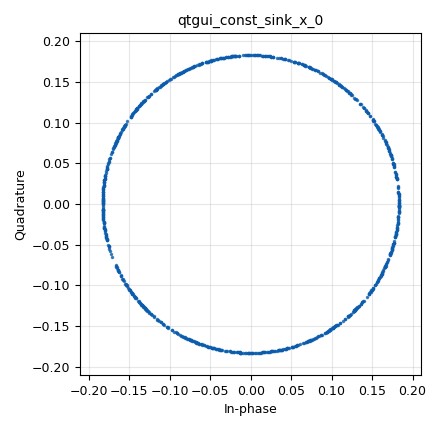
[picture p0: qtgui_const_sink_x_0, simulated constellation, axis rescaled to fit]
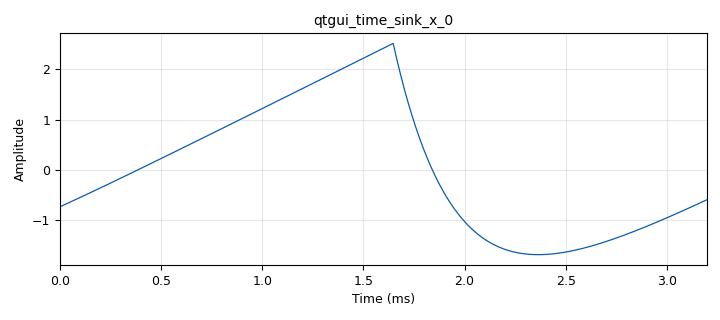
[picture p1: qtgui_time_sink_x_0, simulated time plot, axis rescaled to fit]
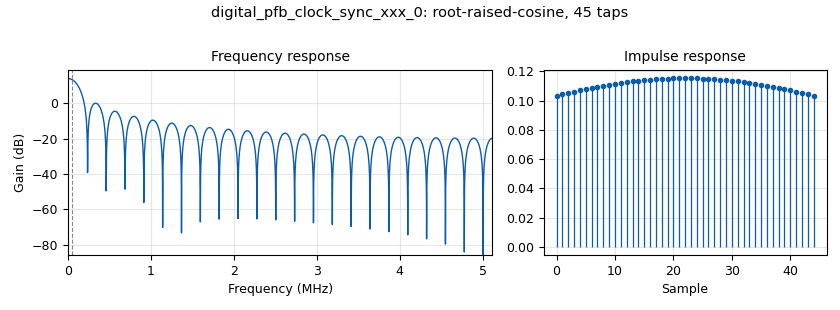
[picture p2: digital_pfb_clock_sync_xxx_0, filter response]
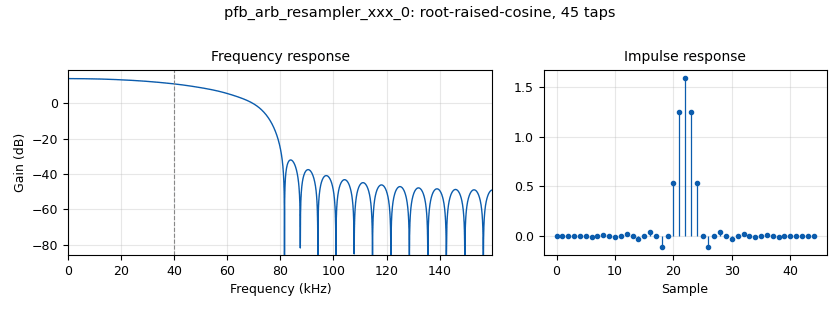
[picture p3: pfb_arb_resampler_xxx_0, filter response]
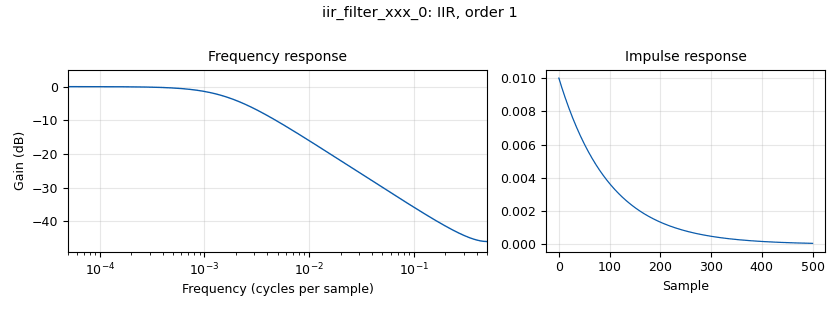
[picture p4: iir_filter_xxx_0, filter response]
options:
  parameters:
    author: aditya
    generate_options: qt_gui
    id: eight_psk_costas
    output_language: python
    title: Not titled yet
  states: {}

blocks:
- name: samp_rate
  id: variable
  parameters:
    value: '320000'
  states: {}
- name: sps
  id: variable
  parameters:
    value: '4'
  states: {}
- name: analog_phase_modulator_fc_0
  id: analog_phase_modulator_fc
  parameters:
    sensitivity: '-1'
  states: {}
- name: analog_random_source_x_0
  id: analog_random_source_x
  parameters:
    max: '8'
    min: '0'
    num_samps: '1000'
    repeat: 'True'
    type: byte
  states: {}
- name: analog_sig_source_x_0
  id: analog_sig_source_x
  parameters:
    amp: '1'
    freq: '10'
    offset: '0'
    phase: '0'
    samp_rate: samp_rate
    type: complex
    waveform: analog.GR_COS_WAVE
  states: {}
- name: blocks_complex_to_arg_0
  id: blocks_complex_to_arg
  parameters: {}
  states: {}
- name: blocks_multiply_const_vxx_0
  id: blocks_multiply_const_vxx
  parameters:
    const: '0.125'
    type: float
  states: {}
- name: blocks_multiply_xx_0
  id: blocks_multiply_xx
  parameters:
    type: complex
  states: {}
- name: blocks_multiply_xx_1
  id: blocks_multiply_xx
  parameters:
    num_inputs: '8'
    type: complex
  states: {}
- name: blocks_multiply_xx_2
  id: blocks_multiply_xx
  parameters:
    type: complex
  states: {}
- name: blocks_throttle_0
  id: blocks_throttle
  parameters:
    samples_per_second: samp_rate
    type: complex
  states: {}
- name: blocks_udp_sink_0
  id: blocks_udp_sink
  parameters:
    eof: 'True'
    ipaddr: 127.0.0.1
    port: '12345'
    psize: '1472'
    type: float
    vlen: '1'
  states: {}
- name: blocks_udp_source_0
  id: blocks_udp_source
  parameters:
    eof: 'True'
    ipaddr: 127.0.0.1
    port: '12345'
    psize: '1472'
    type: float
    vlen: '1'
  states: {}
- name: digital_chunks_to_symbols_xx_0
  id: digital_chunks_to_symbols_xx
  parameters:
    dimension: '1'
    in_type: byte
    out_type: complex
    symbol_table: '[1+0j,  0.7071+0.7071j, 0+1j, -0.7071+0.7071j, -1+0j, -0.7071-0.7071j, 0-1j,  0.7071-0.7071j]'
  states: {}
- name: digital_pfb_clock_sync_xxx_0
  id: digital_pfb_clock_sync_xxx
  parameters:
    filter_size: '32'
    init_phase: '16'
    loop_bw: 2*3.14159265/100
    max_dev: '1.5'
    osps: '1'
    sps: sps
    taps: firdes.root_raised_cosine(5,32*samp_rate,samp_rate/sps,0.99,11*sps)
    type: ccf
  states: {}
- name: iir_filter_xxx_0
  id: iir_filter_xxx
  parameters:
    fbtaps: '[-1,0.99]'
    fftaps: '0.01'
    type: ffd
  states: {}
- name: pfb_arb_resampler_xxx_0
  id: pfb_arb_resampler_xxx
  parameters:
    atten: '100'
    nfilts: '32'
    rrate: sps
    taps: firdes.root_raised_cosine(5,samp_rate,samp_rate/sps,0.99,11*sps)
    type: ccf
  states: {}
- name: plots
  id: qtgui_tab_widget
  parameters:
    label0: QPSK with Frequency Offset
    label1: QPSK Carrier Phase Detection
    label2: Costas Loop
    num_tabs: '3'
  states: {}
- name: qtgui_const_sink_x_0
  id: qtgui_const_sink_x
  parameters:
    gui_hint: plots@0
    size: '1024'
    type: complex
  states: {}
- name: qtgui_const_sink_x_2
  id: qtgui_const_sink_x
  parameters:
    gui_hint: plots@2
    size: '1024'
    type: complex
  states: {}
- name: qtgui_time_sink_x_0
  id: qtgui_time_sink_x
  parameters:
    ctrlpanel: 'True'
    gui_hint: plots@1
    size: '1024'
    srate: samp_rate
    type: float
  states: {}
- name: virtual_sink_0
  id: virtual_sink
  parameters:
    stream_id: 8psk_freq_offset
  states: {}
- name: virtual_source_0
  id: virtual_source
  parameters:
    stream_id: 8psk_freq_offset
  states: {}

connections:
- [analog_phase_modulator_fc_0, '0', blocks_multiply_xx_2, '1']
- [analog_random_source_x_0, '0', digital_chunks_to_symbols_xx_0, '0']
- [analog_sig_source_x_0, '0', blocks_multiply_xx_0, '1']
- [blocks_complex_to_arg_0, '0', blocks_udp_sink_0, '0']
- [blocks_complex_to_arg_0, '0', iir_filter_xxx_0, '0']
- [blocks_multiply_const_vxx_0, '0', analog_phase_modulator_fc_0, '0']
- [blocks_multiply_xx_0, '0', digital_pfb_clock_sync_xxx_0, '0']
- [blocks_multiply_xx_1, '0', blocks_complex_to_arg_0, '0']
- [blocks_multiply_xx_2, '0', qtgui_const_sink_x_2, '0']
- [blocks_throttle_0, '0', qtgui_const_sink_x_0, '0']
- [blocks_udp_source_0, '0', blocks_multiply_const_vxx_0, '0']
- [digital_chunks_to_symbols_xx_0, '0', pfb_arb_resampler_xxx_0, '0']
- [digital_pfb_clock_sync_xxx_0, '0', blocks_throttle_0, '0']
- [digital_pfb_clock_sync_xxx_0, '0', virtual_sink_0, '0']
- [iir_filter_xxx_0, '0', qtgui_time_sink_x_0, '0']
- [pfb_arb_resampler_xxx_0, '0', blocks_multiply_xx_0, '0']
- [virtual_source_0, '0', blocks_multiply_xx_1, '0']
- [virtual_source_0, '0', blocks_multiply_xx_1, '1']
- [virtual_source_0, '0', blocks_multiply_xx_1, '2']
- [virtual_source_0, '0', blocks_multiply_xx_1, '3']
- [virtual_source_0, '0', blocks_multiply_xx_1, '4']
- [virtual_source_0, '0', blocks_multiply_xx_1, '5']
- [virtual_source_0, '0', blocks_multiply_xx_1, '6']
- [virtual_source_0, '0', blocks_multiply_xx_1, '7']
- [virtual_source_0, '0', blocks_multiply_xx_2, '0']

metadata:
  file_format: 1
  grc_version: 3.9.8.0-rc1
